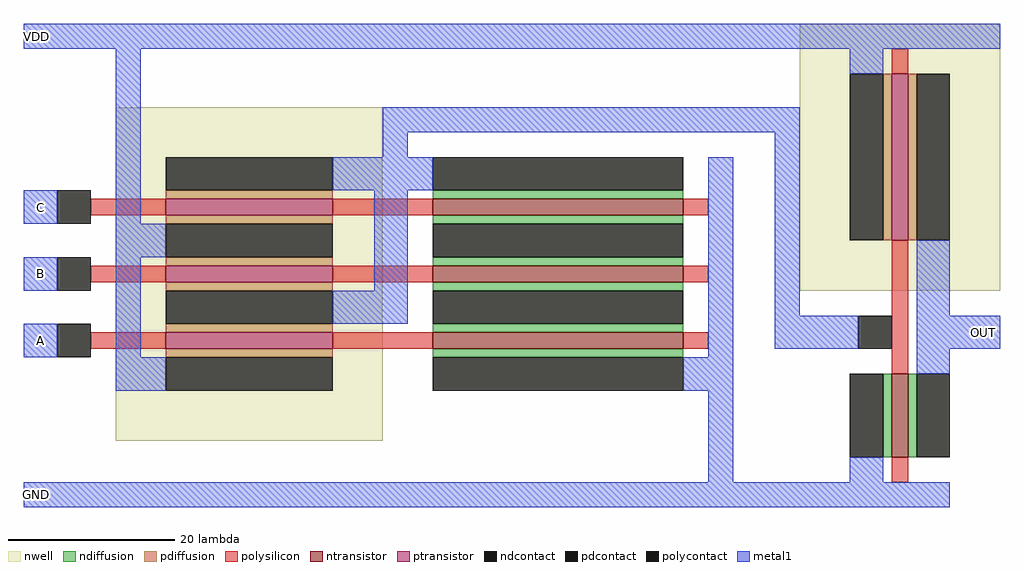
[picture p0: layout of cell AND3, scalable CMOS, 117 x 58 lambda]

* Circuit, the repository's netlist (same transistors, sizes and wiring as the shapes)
* SPICE3 file created from AND3.ext - technology: scmos

.option scale=0.09u

M1000 a_49_21# B a_49_13# Gnd cmosn w=30 l=2
+  ad=180 pd=72 as=180 ps=72
M1001 VDD B a_17_13# w_11_0# cmosp w=20 l=2
+  ad=320 pd=152 as=220 ps=102
M1002 OUT a_17_13# GND Gnd cmosn w=10 l=2
+  ad=50 pd=30 as=200 ps=100
M1003 a_17_13# C a_49_21# Gnd cmosn w=30 l=2
+  ad=150 pd=70 as=0 ps=0
M1004 OUT a_17_13# VDD w_93_18# cmosp w=20 l=2
+  ad=100 pd=50 as=0 ps=0
M1005 a_17_13# C VDD w_11_0# cmosp w=20 l=2
+  ad=0 pd=0 as=0 ps=0
M1006 a_49_13# A GND Gnd cmosn w=30 l=2
+  ad=0 pd=0 as=0 ps=0
M1007 a_17_13# A VDD w_11_0# cmosp w=20 l=2
+  ad=0 pd=0 as=0 ps=0

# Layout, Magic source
magic
tech scmos
<< nwell >>
rect 11 0 43 40
rect 93 18 117 50
<< ntransistor >>
rect 49 27 79 29
rect 49 19 79 21
rect 49 11 79 13
rect 104 -2 106 8
<< ptransistor >>
rect 17 27 37 29
rect 104 24 106 44
rect 17 19 37 21
rect 17 11 37 13
<< ndiffusion >>
rect 49 29 79 30
rect 49 26 79 27
rect 49 21 79 22
rect 49 18 79 19
rect 49 13 79 14
rect 49 10 79 11
rect 103 -2 104 8
rect 106 -2 107 8
<< pdiffusion >>
rect 17 29 37 30
rect 17 26 37 27
rect 17 21 37 22
rect 103 24 104 44
rect 106 24 107 44
rect 17 18 37 19
rect 17 13 37 14
rect 17 10 37 11
<< ndcontact >>
rect 49 30 79 34
rect 49 22 79 26
rect 49 14 79 18
rect 49 6 79 10
rect 99 -2 103 8
rect 107 -2 111 8
<< pdcontact >>
rect 17 30 37 34
rect 17 22 37 26
rect 99 24 103 44
rect 107 24 111 44
rect 17 14 37 18
rect 17 6 37 10
<< polysilicon >>
rect 104 44 106 47
rect 8 27 17 29
rect 37 27 49 29
rect 79 27 82 29
rect 8 19 17 21
rect 37 19 49 21
rect 79 19 82 21
rect 8 11 17 13
rect 37 11 49 13
rect 79 11 82 13
rect 104 8 106 24
rect 104 -5 106 -2
<< polycontact >>
rect 4 26 8 30
rect 4 18 8 22
rect 4 10 8 14
rect 100 11 104 15
<< metal1 >>
rect 0 47 117 50
rect 0 26 4 30
rect 11 26 14 47
rect 99 44 103 47
rect 43 37 93 40
rect 43 34 46 37
rect 37 30 49 34
rect 11 22 17 26
rect 0 18 4 22
rect 0 10 4 14
rect 11 10 14 22
rect 42 18 46 30
rect 37 14 46 18
rect 82 10 85 34
rect 90 15 93 37
rect 107 15 111 24
rect 90 11 100 15
rect 107 11 117 15
rect 11 6 17 10
rect 79 6 85 10
rect 107 8 111 11
rect 82 -5 85 6
rect 99 -5 103 -2
rect 0 -8 111 -5
<< labels >>
rlabel metal1 0 10 4 14 3 A
rlabel metal1 0 18 4 22 3 B
rlabel metal1 0 26 4 30 3 C
rlabel metal1 113 11 117 15 7 OUT
rlabel metal1 0 47 3 50 4 VDD
rlabel metal1 0 -8 3 -5 2 GND
<< end >>
